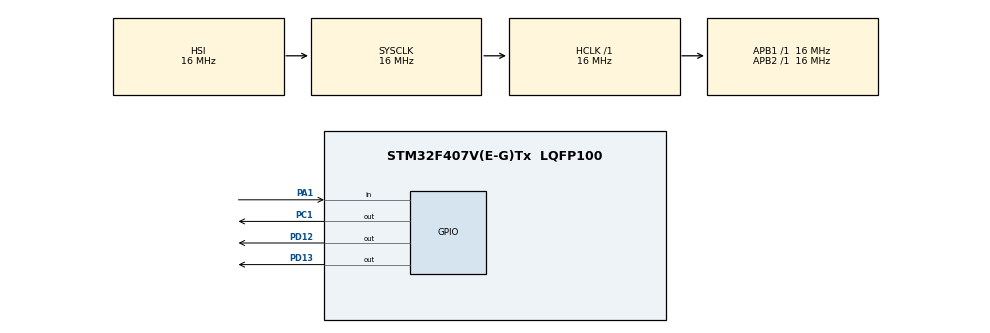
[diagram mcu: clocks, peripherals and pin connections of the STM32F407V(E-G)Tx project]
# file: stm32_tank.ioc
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Mcu.Family=STM32F4
Mcu.Name=STM32F407V(E-G)Tx
Mcu.Package=LQFP100
NVIC.PriorityGroup=NVIC_PRIORITYGROUP_4
PA1.Signal=GPIO_Input
PA13.Mode=Serial_Wire
PA13.Signal=SYS_JTMS-SWDIO
PA14.Mode=Serial_Wire
PA14.Signal=SYS_JTCK-SWCLK
PC1.Signal=GPIO_Output
PD12.Signal=GPIO_Output
PD13.Signal=GPIO_Output
PH0-OSC_IN.Mode=HSE-External-Oscillator
PH0-OSC_IN.Signal=RCC_OSC_IN
PH1-OSC_OUT.Mode=HSE-External-Oscillator
PH1-OSC_OUT.Signal=RCC_OSC_OUT
ProjectManager.HeapSize=0x200
ProjectManager.StackSize=0x400
ProjectManager.TargetToolchain=STM32CubeIDE
RCC.AHBFreq_Value=16000000
RCC.APB1Freq_Value=16000000
RCC.APB2Freq_Value=16000000
RCC.CortexFreq_Value=16000000
RCC.HSE_VALUE=25000000
RCC.HSI_VALUE=16000000
RCC.LSE_VALUE=32768
RCC.SYSCLKFreq_VALUE=16000000
RCC.VCOOutputFreq_Value=192000000
board=STM32F407G-DISC1

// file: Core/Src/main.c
/* USER CODE BEGIN Header */
/**
  ******************************************************************************
  * @file           : main.c
  * @brief          : Main program body
  ******************************************************************************
  * @attention
  *
  * <h2><center>&copy; Copyright (c) 2019 STMicroelectronics.
  * All rights reserved.</center></h2>
  *
  * This software component is licensed by ST under BSD 3-Clause license,
  * the "License"; You may not use this file except in compliance with the
  * License. You may obtain a copy of the License at:
  *                        opensource.org/licenses/BSD-3-Clause
  *
  ******************************************************************************
  */
/* USER CODE END Header */

#include "main.h"

/* USER CODE BEGIN PD */
#define    DWT_CYCCNT    *(volatile unsigned long *)0xE0001004
#define    SCB_DEMCR     *(volatile unsigned long *)0xE000EDFC
#define    DWT_CONTROL   *(volatile unsigned long *)0xE0001000
#define    Clock_MCU 	16 // In MHz, it's for converting MCU ticks in uS.

/* USER CODE END PD */

void SystemClock_Config(void);
static void MX_GPIO_Init(void);

int main(void)
{
  /* USER CODE BEGIN 1 */
	 uint32_t dist = 0;
  /* USER CODE END 1 */

  /* MCU Configuration--------------------------------------------------------*/

  /* Reset of all peripherals, Initializes the Flash interface and the Systick. */
  HAL_Init();

  /* USER CODE BEGIN Init */
  	SCB_DEMCR |= 0x01000000;
  	DWT_CONTROL|= 1;
  	DWT_CYCCNT  = 0;
  /* USER CODE END Init */

  /* Configure the system clock */
  SystemClock_Config();

  /* Initialize all configured peripherals */
  MX_GPIO_Init();

  /* Infinite loop */
  /* USER CODE BEGIN WHILE */
  while (1)
  {

	  uint32_t check = HAL_GetTick();
	  pulse_start();
	  dist = distance_measure();
	   check = HAL_GetTick();

    /* USER CODE END WHILE */

  }
}

void SystemClock_Config(void)
{
  RCC_OscInitTypeDef RCC_OscInitStruct = {0};
  RCC_ClkInitTypeDef RCC_ClkInitStruct = {0};

  /** Configure the main internal regulator output voltage
  */
  __HAL_RCC_PWR_CLK_ENABLE();
  __HAL_PWR_VOLTAGESCALING_CONFIG(PWR_REGULATOR_VOLTAGE_SCALE1);
  /** Initializes the CPU, AHB and APB busses clocks
  */
  RCC_OscInitStruct.OscillatorType = RCC_OSCILLATORTYPE_HSI;
  RCC_OscInitStruct.HSIState = RCC_HSI_ON;
  RCC_OscInitStruct.HSICalibrationValue = RCC_HSICALIBRATION_DEFAULT;
  RCC_OscInitStruct.PLL.PLLState = RCC_PLL_NONE;
  if (HAL_RCC_OscConfig(&RCC_OscInitStruct) != HAL_OK)
  {
    Error_Handler();
  }
  /** Initializes the CPU, AHB and APB busses clocks
  */
  RCC_ClkInitStruct.ClockType = RCC_CLOCKTYPE_HCLK|RCC_CLOCKTYPE_SYSCLK
                              |RCC_CLOCKTYPE_PCLK1|RCC_CLOCKTYPE_PCLK2;
  RCC_ClkInitStruct.SYSCLKSource = RCC_SYSCLKSOURCE_HSI;
  RCC_ClkInitStruct.AHBCLKDivider = RCC_SYSCLK_DIV1;
  RCC_ClkInitStruct.APB1CLKDivider = RCC_HCLK_DIV1;
  RCC_ClkInitStruct.APB2CLKDivider = RCC_HCLK_DIV1;

  if (HAL_RCC_ClockConfig(&RCC_ClkInitStruct, FLASH_LATENCY_0) != HAL_OK)
  {
    Error_Handler();
  }
}

static void MX_GPIO_Init(void)
{
  GPIO_InitTypeDef GPIO_InitStruct = {0};

  /* GPIO Ports Clock Enable */
  __HAL_RCC_GPIOH_CLK_ENABLE();
  __HAL_RCC_GPIOC_CLK_ENABLE();
  __HAL_RCC_GPIOA_CLK_ENABLE();
  __HAL_RCC_GPIOD_CLK_ENABLE();

  /*Configure GPIO pin Output Level */
  HAL_GPIO_WritePin(GPIOC, GPIO_PIN_1, GPIO_PIN_RESET);

  /*Configure GPIO pin Output Level */
  HAL_GPIO_WritePin(GPIOD, GPIO_PIN_12|GPIO_PIN_13, GPIO_PIN_RESET);

  /*Configure GPIO pin : PC1 */
  GPIO_InitStruct.Pin = GPIO_PIN_1;
  GPIO_InitStruct.Mode = GPIO_MODE_OUTPUT_PP;
  GPIO_InitStruct.Pull = GPIO_NOPULL;
  GPIO_InitStruct.Speed = GPIO_SPEED_FREQ_LOW;
  HAL_GPIO_Init(GPIOC, &GPIO_InitStruct);

  /*Configure GPIO pin : PA1 */
  GPIO_InitStruct.Pin = GPIO_PIN_1;
  GPIO_InitStruct.Mode = GPIO_MODE_INPUT;
  GPIO_InitStruct.Pull = GPIO_NOPULL;
  HAL_GPIO_Init(GPIOA, &GPIO_InitStruct);

  /*Configure GPIO pins : PD12 PD13 */
  GPIO_InitStruct.Pin = GPIO_PIN_12|GPIO_PIN_13;
  GPIO_InitStruct.Mode = GPIO_MODE_OUTPUT_PP;
  GPIO_InitStruct.Pull = GPIO_NOPULL;
  GPIO_InitStruct.Speed = GPIO_SPEED_FREQ_LOW;
  HAL_GPIO_Init(GPIOD, &GPIO_InitStruct);

}

/* USER CODE BEGIN 4 */
uint32_t Get_uS()
{
	 uint32_t us_time = DWT_CYCCNT/Clock_MCU;
	 return us_time;

	}
void clean_tick()
{
	DWT_CYCCNT = 0;
}
/* USER CODE END 4 */

void Error_Handler(void)
{
}

/************************ (C) COPYRIGHT STMicroelectronics *****END OF FILE****/
